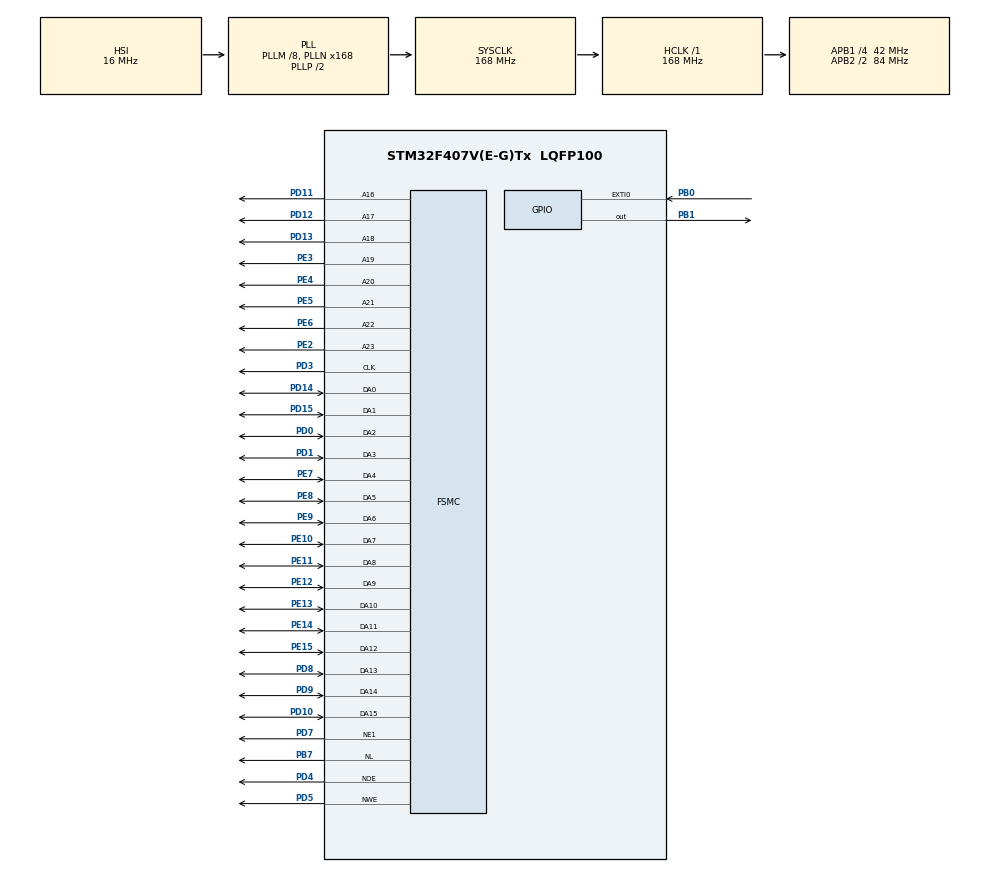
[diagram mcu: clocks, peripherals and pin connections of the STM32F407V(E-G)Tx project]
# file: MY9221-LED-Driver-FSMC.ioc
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FSMC.BusTurnAroundDuration1=0
FSMC.CLKDivision1=2
FSMC.WriteOperation1=FSMC_WRITE_OPERATION_ENABLE
Mcu.Family=STM32F4
Mcu.Name=STM32F407V(E-G)Tx
Mcu.Package=LQFP100
NVIC.EXTI0_IRQn=true\:0\:0\:false\:false\:true\:true\:true
NVIC.PriorityGroup=NVIC_PRIORITYGROUP_0
PB0.Signal=GPXTI0
PB1.Signal=GPIO_Output
PB7.Signal=FSMC_NL
PD0.Mode=24b-da1
PD0.Signal=FSMC_DA2
PD1.Mode=24b-da1
PD1.Signal=FSMC_DA3
PD10.Mode=24b-da1
PD10.Signal=FSMC_DA15
PD11.Mode=24b-da1
PD11.Signal=FSMC_A16
PD12.Mode=24b-da1
PD12.Signal=FSMC_A17
PD13.Mode=24b-da1
PD13.Signal=FSMC_A18
PD14.Mode=24b-da1
PD14.Signal=FSMC_DA0
PD15.Mode=24b-da1
PD15.Signal=FSMC_DA1
PD3.Mode=BurstWrite1
PD3.Signal=FSMC_CLK
PD4.Mode=MuxedPsram1
PD4.Signal=FSMC_NOE
PD5.Mode=MuxedPsram1
PD5.Signal=FSMC_NWE
PD7.Mode=NorPsramChipSelect1_1
PD7.Signal=FSMC_NE1
PD8.Mode=24b-da1
PD8.Signal=FSMC_DA13
PD9.Mode=24b-da1
PD9.Signal=FSMC_DA14
PE10.Mode=24b-da1
PE10.Signal=FSMC_DA7
PE11.Mode=24b-da1
PE11.Signal=FSMC_DA8
PE12.Mode=24b-da1
PE12.Signal=FSMC_DA9
PE13.Mode=24b-da1
PE13.Signal=FSMC_DA10
PE14.Mode=24b-da1
PE14.Signal=FSMC_DA11
PE15.Mode=24b-da1
PE15.Signal=FSMC_DA12
PE2.Mode=24b-da1
PE2.Signal=FSMC_A23
PE3.Mode=24b-da1
PE3.Signal=FSMC_A19
PE4.Mode=24b-da1
PE4.Signal=FSMC_A20
PE5.Mode=24b-da1
PE5.Signal=FSMC_A21
PE6.Mode=24b-da1
PE6.Signal=FSMC_A22
PE7.Mode=24b-da1
PE7.Signal=FSMC_DA4
PE8.Mode=24b-da1
PE8.Signal=FSMC_DA5
PE9.Mode=24b-da1
PE9.Signal=FSMC_DA6
PH0-OSC_IN.Mode=HSE-External-Oscillator
PH0-OSC_IN.Signal=RCC_OSC_IN
PH1-OSC_OUT.Mode=HSE-External-Oscillator
PH1-OSC_OUT.Signal=RCC_OSC_OUT
ProjectManager.HeapSize=0x200
ProjectManager.StackSize=0x400
ProjectManager.TargetToolchain=STM32CubeIDE
RCC.48MHZClocksFreq_Value=48000000
RCC.AHBFreq_Value=168000000
RCC.APB1CLKDivider=RCC_HCLK_DIV4
RCC.APB1Freq_Value=42000000
RCC.APB1TimFreq_Value=84000000
RCC.APB2CLKDivider=RCC_HCLK_DIV2
RCC.APB2Freq_Value=84000000
RCC.APB2TimFreq_Value=168000000
RCC.CortexFreq_Value=168000000
RCC.HCLKFreq_Value=168000000
RCC.HSE_VALUE=8000000
RCC.HSI_VALUE=16000000
RCC.LSE_VALUE=32768
RCC.PLLM=8
RCC.PLLN=168
RCC.PLLQ=7
RCC.SYSCLKFreq_VALUE=168000000
RCC.SYSCLKSource=RCC_SYSCLKSOURCE_PLLCLK
RCC.VCOOutputFreq_Value=336000000
SH.FSMC_NL.0=FSMC_NL,AddressValid1
board=STM32F407G-DISC1

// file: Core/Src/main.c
/* USER CODE BEGIN Header */
/**
  ******************************************************************************
  * @file           : main.c
  * @brief          : Main program body
  ******************************************************************************
  * @attention
  *
  * <h2><center>&copy; Copyright (c) 2021 STMicroelectronics.
  * All rights reserved.</center></h2>
  *
  * This software component is licensed by ST under Ultimate Liberty license
  * SLA0044, the "License"; You may not use this file except in compliance with
  * the License. You may obtain a copy of the License at:
  *                             www.st.com/SLA0044
  *
  ******************************************************************************
  */
/* USER CODE END Header */
#include "main.h"

SRAM_HandleTypeDef hsram1;

/* USER CODE BEGIN PV */
int bitstream_bin = 16;
int Counter = {0};

/* USER CODE END PV */

void SystemClock_Config(void);
static void MX_GPIO_Init(void);
static void MX_FSMC_Init(void);

int main(void)
{

  /* MCU Configuration--------------------------------------------------------*/

  /* Reset of all peripherals, Initializes the Flash interface and the Systick. */
  HAL_Init();

  /* Configure the system clock */
  SystemClock_Config();

  /* Initialize all configured peripherals */
  MX_GPIO_Init();
  MX_FSMC_Init();
  /* USER CODE BEGIN 2 */

  /* Port E: 2, 3, 4, 5, 6, 7, 8, 9, 10, 11, 12, 13, 14, 15 -> alternate function AF12*/
  GPIOD->MODER = 0xAAAAAAA4;
  GPIOD->AFR[0] = 0xCCCCCCCC;
  GPIOD->AFR[1] = 0xCCCCCCCC;

  /* Port D: 0, 1, 3, 4, 5, 7, 8, 9, 10, 11, 12, 13, 14, 15 -> alternate function AF12*/
  GPIOD->MODER = 0XAAAA8A8A;
  GPIOD->AFR[0] = 0xCCCCCCCC;
  GPIOD->AFR[1] = 0xCCCCCCCC;

//  /* PD: 0, 1, 8, 9, 10, 14, 15 -> alternate function (0b10) */
//  GPIOD->MODER = 0xA56A9AAA;
//  GPIOD->AFR[0] = 0xCCCCCCCC; /* FSMC = AF12 (0xC) */
//  GPIOD->AFR[1] = 0xCCCCCCCC;
//  /* PE: 7, 8, 9, 10, 11, 12, 13, 14, 15 -> alternate function (0b10) */
//  GPIOE->MODER = 0xAAAA9AA8;
//  GPIOE->AFR[0] = 0xCCCCCCCC;
//  GPIOE->AFR[1] = 0xCCCCCCCC;
//  /* PB: 7 -> AF */
//  GPIOB->MODER = 0x55551555;
//  GPIOB->AFR[0] = 0xCCCCCCCC;
//  GPIOB->AFR[1] = 0xCCCCCCCC;

  /* PSRAM, synchronous (burst), non-multiplexed */
  /* control register */
  FSMC_Bank1->BTCR[0] = FSMC_BCR1_CBURSTRW | FSMC_BCR1_WAITPOL | FSMC_BCR1_BURSTEN | FSMC_BCR1_MWID_0 | FSMC_BCR1_WREN | FSMC_BCR1_MTYP_0 /* PSRAM */ | FSMC_BCR1_MBKEN;
  /* timing register */
  FSMC_Bank1->BTCR[1] = FSMC_BTR1_CLKDIV_0 /* div 3 */ ;

  volatile uint16_t* fsmc = (uint16_t*)0x60000000;
  volatile uint8_t* fsmc_adr = (uint8_t*)0x60040000;
  uint16_t w[] = {
          0x0000, 0xfffe, 0xffff, 0x0001,
          0x0000, 0xfffe, 0xffff, 0x0001};
  uint8_t adr[] = {
		  0x00,	0x00, 0x00, 0x00,
		  0x00, 0x00, 0x00, 0x00};

  /* USER CODE END 2 */

  /* Infinite loop */
  /* USER CODE BEGIN WHILE */
  while (1)
  {

	  for(uint16_t i=0; i<8; i++) {
		  	  //fsmc_adr[0] = adr[i];
	          fsmc[0] = w[i];
	  }
    /* USER CODE END WHILE */

  }
}

void SystemClock_Config(void)
{
  RCC_OscInitTypeDef RCC_OscInitStruct = {0};
  RCC_ClkInitTypeDef RCC_ClkInitStruct = {0};

  /** Configure the main internal regulator output voltage
  */
  __HAL_RCC_PWR_CLK_ENABLE();
  __HAL_PWR_VOLTAGESCALING_CONFIG(PWR_REGULATOR_VOLTAGE_SCALE1);
  /** Initializes the RCC Oscillators according to the specified parameters
  * in the RCC_OscInitTypeDef structure.
  */
  RCC_OscInitStruct.OscillatorType = RCC_OSCILLATORTYPE_HSI;
  RCC_OscInitStruct.HSIState = RCC_HSI_ON;
  RCC_OscInitStruct.HSICalibrationValue = RCC_HSICALIBRATION_DEFAULT;
  RCC_OscInitStruct.PLL.PLLState = RCC_PLL_ON;
  RCC_OscInitStruct.PLL.PLLSource = RCC_PLLSOURCE_HSI;
  RCC_OscInitStruct.PLL.PLLM = 8;
  RCC_OscInitStruct.PLL.PLLN = 168;
  RCC_OscInitStruct.PLL.PLLP = RCC_PLLP_DIV2;
  RCC_OscInitStruct.PLL.PLLQ = 7;
  if (HAL_RCC_OscConfig(&RCC_OscInitStruct) != HAL_OK)
  {
    Error_Handler();
  }
  /** Initializes the CPU, AHB and APB buses clocks
  */
  RCC_ClkInitStruct.ClockType = RCC_CLOCKTYPE_HCLK|RCC_CLOCKTYPE_SYSCLK
                              |RCC_CLOCKTYPE_PCLK1|RCC_CLOCKTYPE_PCLK2;
  RCC_ClkInitStruct.SYSCLKSource = RCC_SYSCLKSOURCE_PLLCLK;
  RCC_ClkInitStruct.AHBCLKDivider = RCC_SYSCLK_DIV1;
  RCC_ClkInitStruct.APB1CLKDivider = RCC_HCLK_DIV4;
  RCC_ClkInitStruct.APB2CLKDivider = RCC_HCLK_DIV2;

  if (HAL_RCC_ClockConfig(&RCC_ClkInitStruct, FLASH_LATENCY_5) != HAL_OK)
  {
    Error_Handler();
  }
}

static void MX_GPIO_Init(void)
{
  GPIO_InitTypeDef GPIO_InitStruct = {0};

  /* GPIO Ports Clock Enable */
  __HAL_RCC_GPIOE_CLK_ENABLE();
  __HAL_RCC_GPIOH_CLK_ENABLE();
  __HAL_RCC_GPIOB_CLK_ENABLE();
  __HAL_RCC_GPIOD_CLK_ENABLE();

  /*Configure GPIO pin Output Level */
  HAL_GPIO_WritePin(GPIOB, GPIO_PIN_1, GPIO_PIN_RESET);

  /*Configure GPIO pin : PB0 */
  GPIO_InitStruct.Pin = GPIO_PIN_0;
  GPIO_InitStruct.Mode = GPIO_MODE_IT_RISING;
  GPIO_InitStruct.Pull = GPIO_NOPULL;
  HAL_GPIO_Init(GPIOB, &GPIO_InitStruct);

  /*Configure GPIO pin : PB1 */
  GPIO_InitStruct.Pin = GPIO_PIN_1;
  GPIO_InitStruct.Mode = GPIO_MODE_OUTPUT_PP;
  GPIO_InitStruct.Pull = GPIO_NOPULL;
  GPIO_InitStruct.Speed = GPIO_SPEED_FREQ_LOW;
  HAL_GPIO_Init(GPIOB, &GPIO_InitStruct);

  /* EXTI interrupt init*/
  HAL_NVIC_SetPriority(EXTI0_IRQn, 0, 0);
  HAL_NVIC_EnableIRQ(EXTI0_IRQn);

}

/* FSMC initialization function */
static void MX_FSMC_Init(void)
{

  FSMC_NORSRAM_TimingTypeDef Timing = {0};

  /** Perform the SRAM1 memory initialization sequence
  */
  hsram1.Instance = FSMC_NORSRAM_DEVICE;
  hsram1.Extended = FSMC_NORSRAM_EXTENDED_DEVICE;
  /* hsram1.Init */
  hsram1.Init.NSBank = FSMC_NORSRAM_BANK1;
  hsram1.Init.DataAddressMux = FSMC_DATA_ADDRESS_MUX_ENABLE;
  hsram1.Init.MemoryType = FSMC_MEMORY_TYPE_PSRAM;
  hsram1.Init.MemoryDataWidth = FSMC_NORSRAM_MEM_BUS_WIDTH_16;
  hsram1.Init.BurstAccessMode = FSMC_BURST_ACCESS_MODE_DISABLE;
  hsram1.Init.WaitSignalPolarity = FSMC_WAIT_SIGNAL_POLARITY_LOW;
  hsram1.Init.WrapMode = FSMC_WRAP_MODE_DISABLE;
  hsram1.Init.WaitSignalActive = FSMC_WAIT_TIMING_BEFORE_WS;
  hsram1.Init.WriteOperation = FSMC_WRITE_OPERATION_ENABLE;
  hsram1.Init.WaitSignal = FSMC_WAIT_SIGNAL_DISABLE;
  hsram1.Init.ExtendedMode = FSMC_EXTENDED_MODE_DISABLE;
  hsram1.Init.AsynchronousWait = FSMC_ASYNCHRONOUS_WAIT_DISABLE;
  hsram1.Init.WriteBurst = FSMC_WRITE_BURST_ENABLE;
  hsram1.Init.PageSize = FSMC_PAGE_SIZE_NONE;
  /* Timing */
  Timing.AddressSetupTime = 15;
  Timing.AddressHoldTime = 15;
  Timing.DataSetupTime = 255;
  Timing.BusTurnAroundDuration = 0;
  Timing.CLKDivision = 2;
  Timing.DataLatency = 2;
  Timing.AccessMode = FSMC_ACCESS_MODE_A;
  /* ExtTiming */

  if (HAL_SRAM_Init(&hsram1, &Timing, NULL) != HAL_OK)
  {
    Error_Handler( );
  }

}

void Error_Handler(void)
{
  __disable_irq();
  while (1)
  {
  }
}

/************************ (C) COPYRIGHT STMicroelectronics *****END OF FILE****/
